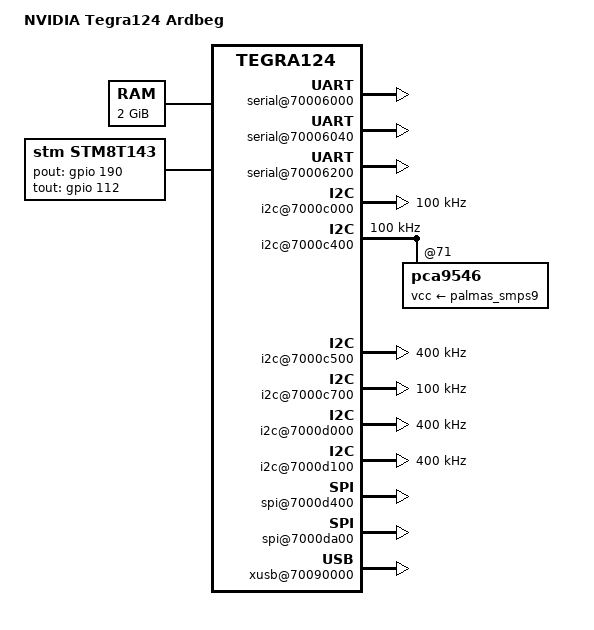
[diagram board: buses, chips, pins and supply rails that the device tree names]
/dts-v1/;

#include "tegra124.dtsi"
#include "tegra124-platforms/tegra124-tn8-powermon-e1780-1100-a02.dtsi"
#include "tegra124-platforms/tegra124-tn8-pmic-e1736-1000-a00.dtsi"
#include "tegra124-platforms/tegra124-tn8-fixed-e1736-1000-a00.dtsi"
#include "tegra124-platforms/tegra124-tn8-gpio-e1780-1100-a02.dtsi"
#include "tegra124-platforms/tegra124-tn8-pinmux-e1780-1100-a02.dtsi"
#include "tegra124-platforms/tegra124-tn8-keys-e1780-1100-a02.dtsi"

/ {
	model = "NVIDIA Tegra124 Ardbeg";
	compatible = "nvidia,ardbeg", "nvidia,tegra124";
	nvidia,dtsfilename = __FILE__;
	#address-cells = <1>;
	#size-cells = <1>;

	chosen {
		bootargs = "tegraid=40.0.0.00.00 vmalloc=256M video=tegrafb console=ttyS0,115200n8 earlyprintk";
		linux,initrd-start = <0x85000000>;
		linux,initrd-end = <0x851bc400>;
	};

        serial@70006000 {
                compatible = "nvidia,tegra114-hsuart";
                status = "okay";
        };

        serial@70006040 {
                compatible = "nvidia,tegra114-hsuart";
                status = "okay";
        };

        serial@70006200 {
                compatible = "nvidia,tegra114-hsuart";
                status = "okay";
        };

	memory@0x80000000 {
		device_type = "memory";
		reg = <0x80000000 0x80000000>;
	};

	i2c@7000c000 {
		status = "okay";
		clock-frequency = <100000>;
	};

	i2c@7000c400 {
		status = "okay";
		clock-frequency = <100000>;

		pca9546@71 {
			vcc-supply = <&palmas_smps9>;
		};
	};

	i2c@7000c500 {
		status = "okay";
		clock-frequency = <400000>;
	};

	i2c@7000c700 {
		status = "okay";
		clock-frequency = <100000>;
	};

	i2c@7000d000 {
		status = "okay";
		clock-frequency = <400000>;
		nvidia,bit-banging-xfer-after-shutdown;
	};

	i2c@7000d100 {
		status = "okay";
		clock-frequency = <400000>;
	};

	spi@7000d400 {
		status = "okay";
		spi-max-frequency = <25000000>;
	};

	spi@7000da00 {
		status = "okay";
		spi-max-frequency = <25000000>;
	};

	pmc {
		status = "okay";
		nvidia,invert-interrupt;
		nvidia,suspend-mode = <0>;
		nvidia,cpu-pwr-good-time = <500>;
		nvidia,cpu-pwr-off-time = <300>;
		nvidia,core-pwr-good-time = <3845 3845>;
		nvidia,core-pwr-off-time = <2000>;
		nvidia,core-power-req-active-high;
		nvidia,sys-clock-req-active-high;
	};

	stm8t143 {
		compatible = "stm,stm8t143";
		pout-gpio = <&gpio 190 0>;
		tout-gpio = <&gpio 112 0>;
	};

	xusb@70090000 {
		/* nvidia,uses_external_pmic;
		nvidia,gpio_controls_muxed_ss_lanes; */
		nvidia,gpio_ss1_sata = <0>;
		nvidia,portmap = <0x703>; /* SSP0, SSP1 USB2P0, USB2P1, USBP2 */
		nvidia,ss_portmap = <0x20>; /* SSP0 on USB2P0, SSP1 on USB2P2 */
		nvidia,lane_owner = <6>; /* USB3P0 USB3P1 */
		nvidia,ulpicap = <0>; /* No ulpi support. can we remove */
		nvidia,supply_utmi_vbuses = "usb_vbus0", "usb_vbus1", "usb_vbus2";
		nvidia,supply_s3p3v = "hvdd_usb";
		nvidia,supply_s1p8v = "avdd_pll_utmip";
		nvidia,supply_vddio_hsic = "vddio_hsic";
		nvidia,supply_s1p05v = "avddio_usb";
		status = "okay";
	};
};
